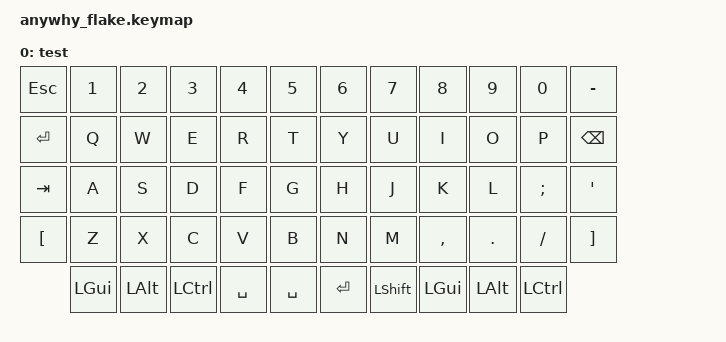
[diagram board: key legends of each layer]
#include <behaviors.dtsi>
#include <dt-bindings/zmk/keys.h>

/ {
    keymap {
        compatible = "zmk,keymap";

        test {
            // Single-layer, simple QWERTY-style bindings; works standalone on the right half.
            // The shield transform handles left/right; building with SHIELD=anywhy_flake_right
            // will apply the right-side col offset so only those keys are active on your PCB.
            bindings = <
&kp ESC    &kp N1    &kp N2    &kp N3     &kp N4     &kp N5    &kp N6  &kp N7     &kp N8     &kp N9    &kp N0     &kp MINUS
&kp ENTER  &kp Q     &kp W     &kp E      &kp R      &kp T     &kp Y   &kp U      &kp I      &kp O     &kp P      &kp BSPC
&kp TAB    &kp A     &kp S     &kp D      &kp F      &kp G     &kp H   &kp J      &kp K      &kp L     &kp SEMI   &kp APOS
&kp LBKT   &kp Z     &kp X     &kp C      &kp V      &kp B     &kp N   &kp M      &kp COMMA  &kp DOT   &kp FSLH   &kp RBKT
           &kp LGUI  &kp LALT  &kp LCTRL  &kp SPACE  &kp SPACE &kp ENTER  &kp LSHFT  &kp LGUI   &kp LALT  &kp LCTRL
            >;
        };
    };
};
